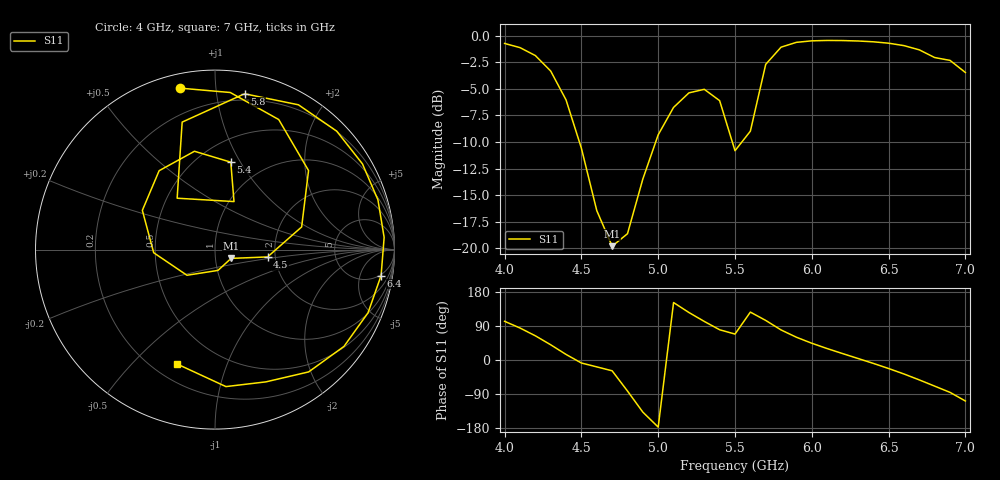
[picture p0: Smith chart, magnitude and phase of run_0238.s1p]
! Touchstone file exported from HFSS 2024.2.0
!  File:  C:/Users/wsak9/Desktop/Sim Fast/Widenad Patch/WP_AI_V1_sweep.aedt
!  Generated:  12:58:01 AM Oct 14, 2026
!  Design:  A1_model
!  Project:  WP_AI_V1_sweep
!  Setup:  Setup1
!  Solution:  Sweep
! Variables:
!  Air_gap = 2.12mm
!  Curve_Amp1 = 2.73
!  Curve_len1 = 1
!  Curve_pos = 11.145mm
!  Extra = 4.99mm
!  H_sub = 0.79mm
!  L_Patch = 18.29mm
!  L_Patch1 = 20.01mm
!  Sx = 2.82mm
!  Sy = 3.64mm
!  WS = 0.57mm
!  W_Patch = 14.3mm
!  W_Patch1 = 15.02mm
!Data is not renormalized
# GHz S MA
! Terminal data exported
! Port[1] = 1
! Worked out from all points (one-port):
!   31 points, 4 GHz to 7 GHz, reference per port
!   lowest |S11| = -19.8 dB at 4.7 GHz (marker M1), VSWR 1.23
!   |S11| at or under -10 dB: 4.487 GHz to 4.984 GHz (496.5 MHz wide, 10.5 % of centre); 5.483 GHz to 5.545 GHz (61.89 MHz wide, 1.12 % of centre)
!   S11 on the Smith chart (normalised r, x): 4 GHz: 0.07, +0.81; 4.5 GHz: 1.82, -0.16; 5.4 GHz: 0.71, +0.91; 5.8 GHz: 0.15, +1.20; 6.4 GHz: 5, -11; 7 GHz: 0.29, -0.68
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4  0.9199 102.1
4.1  0.8794 84.5
4.2  0.807 63.9
4.3  0.6824 40.2
4.4  0.499 14.7
4.5  0.2956 -7.9
4.6  0.1505 -18.1
4.7  0.1023 -28.5
4.8  0.1171 -81.9
4.9  0.2118 -137.6
5  0.342 -177.1
5.1  0.4601 151.6
5.2  0.5386 125.3
5.3  0.5597 101.8
5.4  0.495 79.8
5.5  0.2878 68.4
5.6  0.3556 126.4
5.7  0.7335 104.4
5.8  0.8837 79.3
5.9  0.9311 60.1
6  0.9463 44.2
6.1  0.9502 30.2
6.3  0.9448 4.1
6.4  0.9366 -8.9
6.6  0.8985 -36.9
6.7  0.8583 -52.5
6.9  0.7657 -85.4
7  0.6717 -108.2
